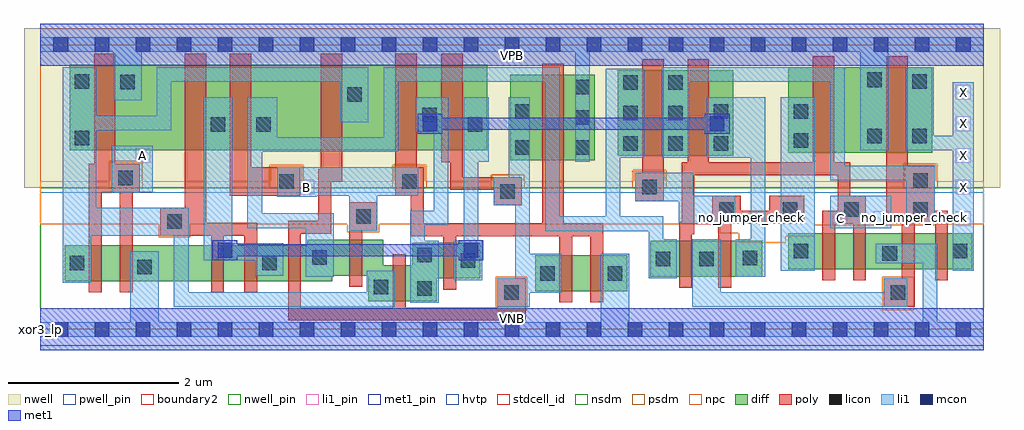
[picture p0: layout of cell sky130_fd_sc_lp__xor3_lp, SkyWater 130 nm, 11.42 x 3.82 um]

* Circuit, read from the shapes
.subckt sky130_fd_sc_lp__xor3_lp A B C VGND VNB VPB VPWR X
XM1 n1 A n2 VNB sky130_fd_pr__nfet_01v8 w=0.42 l=0.15
XM2 VGND A n1 VNB sky130_fd_pr__nfet_01v8 w=0.42 l=0.15
XM3 n3 n2 VGND VNB sky130_fd_pr__nfet_01v8 w=0.42 l=0.15
XM4 n4 n2 n3 VNB sky130_fd_pr__nfet_01v8 w=0.42 l=0.15
XM5 n5 n6 n4 VNB sky130_fd_pr__nfet_01v8 w=0.42 l=0.15
XM6 n2 B n5 VNB sky130_fd_pr__nfet_01v8 w=0.42 l=0.15
XM7 n7 n6 n2 VNB sky130_fd_pr__nfet_01v8 w=0.42 l=0.15
XM8 n4 B n7 VNB sky130_fd_pr__nfet_01v8 w=0.42 l=0.15
XM9 n8 B n6 VNB sky130_fd_pr__nfet_01v8 w=0.42 l=0.15
XM10 VGND B n8 VNB sky130_fd_pr__nfet_01v8 w=0.42 l=0.15
XM11 n9 C n5 VNB sky130_fd_pr__nfet_01v8 w=0.42 l=0.15
XM12 n7 n10 n9 VNB sky130_fd_pr__nfet_01v8 w=0.42 l=0.15
XM13 n11 C n10 VNB sky130_fd_pr__nfet_01v8 w=0.42 l=0.15
XM14 VGND C n11 VNB sky130_fd_pr__nfet_01v8 w=0.42 l=0.15
XM15 n12 n9 VGND VNB sky130_fd_pr__nfet_01v8 w=0.42 l=0.15
XM16 X n9 n12 VNB sky130_fd_pr__nfet_01v8 w=0.42 l=0.15
XM17 VPWR A n2 VPB sky130_fd_pr__pfet_01v8_hvt w=1 l=0.25
XM18 n4 n2 VPWR VPB sky130_fd_pr__pfet_01v8_hvt w=1 l=0.25
XM19 n5 B n4 VPB sky130_fd_pr__pfet_01v8_hvt w=1 l=0.25
XM20 n2 n6 n5 VPB sky130_fd_pr__pfet_01v8_hvt w=1 l=0.25
XM21 n7 B n2 VPB sky130_fd_pr__pfet_01v8_hvt w=1 l=0.25
XM22 n4 n6 n7 VPB sky130_fd_pr__pfet_01v8_hvt w=1 l=0.25
XM23 VPWR B n6 VPB sky130_fd_pr__pfet_01v8_hvt w=1 l=0.25
XM24 n9 n10 n5 VPB sky130_fd_pr__pfet_01v8_hvt w=1 l=0.25
XM25 n7 C n9 VPB sky130_fd_pr__pfet_01v8_hvt w=1 l=0.25
XM26 VPWR C n10 VPB sky130_fd_pr__pfet_01v8_hvt w=1 l=0.25
XM27 X n9 VPWR VPB sky130_fd_pr__pfet_01v8_hvt w=1 l=0.25
.ends

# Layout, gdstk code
import gdstk
lib = gdstk.Library(unit=1e-6, precision=1e-09)
def R(c, l, rs):  # rectangles x0, y0, x1, y1
    for r in rs: c.add(gdstk.rectangle(r[:2], r[2:], *l))
def A(c, l, x, y, w, h, nx, ny, dx, dy):  # array of equal rectangles
    R(c, l, [(x+i*dx, y+j*dy, x+i*dx+w, y+j*dy+h) for i in range(nx) for j in range(ny)])
def P(c, l, *ps):  # polygons
    for p in ps: c.add(gdstk.Polygon(p, *l))
nwell_pin = (64, 16)
nwell = (64, 20)
diff = (65, 20)
poly = (66, 20)
licon = (66, 44)
li1_pin = (67, 16)
li1 = (67, 20)
mcon = (67, 44)
met1_pin = (68, 16)
met1 = (68, 20)
hvtp = (78, 44)
stdcell_id = (81, 4)
nsdm = (93, 44)
psdm = (94, 20)
npc = (95, 20)
pwell_pin = (122, 16)
boundary2 = (236, 0)

sky130_fd_sc_lp__xor3_lp = lib.new_cell('sky130_fd_sc_lp__xor3_lp')
R(sky130_fd_sc_lp__xor3_lp, nwell_pin, [(0,3.085,11.04,3.33)])
R(sky130_fd_sc_lp__xor3_lp, nwell, [(-0.19,1.655,11.23,3.52)])
R(sky130_fd_sc_lp__xor3_lp, diff, [(5.79,0.445,6.87,0.865), (7.14,0.615,8.45,1.035), (8.755,0.705,10.905,1.125), (5.5,1.98,6.49,2.98), (6.76,2.03,8.11,3.03), (8.755,2.065,10.435,3.065), (0.345,2.095,5.23,3.095)])
P(sky130_fd_sc_lp__xor3_lp, diff, [(5.15,1.015),(4.35,1.015),(4.35,0.75),(4.015,0.75),(4.015,1.045),(3.125,1.045),(3.125,0.985),(0.285,0.985),(0.285,0.565),(3.415,0.565),(3.415,0.625),(3.84,0.625),(3.84,0.33),(4.64,0.33),(4.64,0.595),(5.15,0.595)])
P(sky130_fd_sc_lp__xor3_lp, poly, [(1.165,1.935),(0.88,1.935),(0.88,3.225),(0.63,3.225),(0.63,1.935),(0.57,1.935),(0.57,0.435),(0.72,0.435),(0.72,1.605),(0.93,1.605),(0.93,0.435),(1.08,0.435),(1.08,1.605),(1.165,1.605)],
  [(2.54,1.245),(1.94,1.245),(1.94,3.225),(1.69,3.225),(1.69,1.425),(1.405,1.425),(1.405,1.095),(2,1.095),(2,0.435),(2.15,0.435),(2.15,1.095),(2.39,1.095),(2.39,0.435),(2.54,0.435)],
  [(3.045,1.895),(2.47,1.895),(2.47,3.225),(2.22,3.225),(2.22,1.565),(3.045,1.565)],
  [(3.945,1.485),(3.615,1.485),(3.615,0.495),(3.765,0.495),(3.765,1.155),(3.945,1.155)],
  [(5.635,1.78),(4.945,1.78),(4.945,3.225),(4.695,3.225),(4.695,1.955),(4.795,1.955),(4.795,1.63),(5.305,1.63),(5.305,1.45),(5.635,1.45)],
  [(5.68,0.595),(5.35,0.595),(5.35,0.255),(4.275,0.255),(4.275,0.88),(4.125,0.88),(4.125,0.255),(3.05,0.255),(3.05,1.12),(3.405,1.12),(3.405,1.725),(3.535,1.725),(3.535,3.225),(3.285,3.225),(3.285,1.875),(3.255,1.875),(3.255,1.27),(2.9,1.27),(2.9,0.105),(5.68,0.105)],
  [(6.585,1.24),(6.125,1.24),(6.125,3.11),(5.875,3.11),(5.875,1.24),(4.485,1.24),(4.485,1.895),(4.405,1.895),(4.405,3.225),(4.155,3.225),(4.155,1.565),(4.335,1.565),(4.335,1.09),(4.715,1.09),(4.715,0.465),(4.865,0.465),(4.865,1.09),(6.075,1.09),(6.075,0.315),(6.225,0.315),(6.225,1.09),(6.435,1.09),(6.435,0.315),(6.585,0.315)],
  [(7.295,3.16),(7.045,3.16),(7.045,1.83),(6.965,1.83),(6.965,1.5),(7.295,1.5)],
  [(8.94,1.565),(8.53,1.565),(8.53,1.385),(8.195,1.385),(8.195,1.565),(7.865,1.565),(7.865,1.235),(7.935,1.235),(7.935,0.485),(8.085,0.485),(8.085,1.235),(8.94,1.235)],
  [(9.66,1.565),(9.48,1.565),(9.48,1.955),(9.29,1.955),(9.29,3.195),(9.04,3.195),(9.04,1.955),(7.825,1.955),(7.825,3.16),(7.575,3.16),(7.575,1.955),(7.505,1.955),(7.505,1.26),(7.475,1.26),(7.475,0.485),(7.625,0.485),(7.625,1.11),(7.655,1.11),(7.655,1.805),(9.33,1.805),(9.33,1.385),(9.15,1.385),(9.15,0.575),(9.3,0.575),(9.3,1.235),(9.51,1.235),(9.51,0.575),(9.66,0.575)],
  [(10.62,1.385),(10.465,1.385),(10.465,1.905),(10.15,1.905),(10.15,3.195),(9.9,3.195),(9.9,1.235),(10.08,1.235),(10.08,0.595),(9.87,0.595),(9.87,0.265),(10.23,0.265),(10.23,1.235),(10.47,1.235),(10.47,0.575),(10.62,0.575)])
A(sky130_fd_sc_lp__xor3_lp, licon, 6.26, 2.04, 0.17, 0.17, 1, 3, 0, 0.355)
A(sky130_fd_sc_lp__xor3_lp, licon, 6.82, 2.09, 0.17, 0.17, 3, 1, 0.53, 0)
R(sky130_fd_sc_lp__xor3_lp, licon, [(5.43,0.345,5.6,0.515), (9.95,0.345,10.12,0.515), (4.41,0.39,4.58,0.56), (3.9,0.41,4.07,0.58), (5.85,0.57,6.02,0.74), (6.64,0.57,6.81,0.74), (1.135,0.645,1.305,0.815), (0.345,0.69,0.515,0.86), (2.595,0.69,2.765,0.86), (4.92,0.72,5.09,0.89), (7.2,0.74,7.37,0.91), (7.71,0.74,7.88,0.91), (8.22,0.75,8.39,0.92), (3.185,0.755,3.355,0.925), (4.41,0.785,4.58,0.955), (9.855,0.8,10.025,0.97), (8.815,0.83,8.985,1), (10.675,0.83,10.845,1), (1.485,1.175,1.655,1.345), (3.695,1.235,3.865,1.405), (7.945,1.315,8.115,1.485), (8.69,1.315,8.86,1.485), (9.41,1.315,9.58,1.485), (10.215,1.315,10.385,1.485), (5.385,1.53,5.555,1.7), (7.045,1.58,7.215,1.75), (2.795,1.645,2.965,1.815), (4.235,1.645,4.405,1.815), (10.215,1.655,10.385,1.825), (0.915,1.685,1.085,1.855), (5.56,2.04,5.73,2.21), (8.815,2.125,8.985,2.295), (0.405,2.155,0.575,2.325), (9.675,2.175,9.845,2.345), (10.205,2.175,10.375,2.345), (1.995,2.31,2.165,2.48), (2.525,2.31,2.695,2.48), (5,2.31,5.17,2.48), (4.47,2.425,4.64,2.595), (6.82,2.445,6.99,2.615), (7.35,2.445,7.52,2.615), (5.56,2.465,5.73,2.635), (7.88,2.465,8.05,2.635), (8.815,2.465,8.985,2.635), (3.59,2.66,3.76,2.83), (6.82,2.8,6.99,2.97), (7.35,2.8,7.52,2.97), (0.935,2.81,1.105,2.98), (0.405,2.815,0.575,2.985), (10.205,2.815,10.375,2.985), (9.675,2.835,9.845,3.005)])
A(sky130_fd_sc_lp__xor3_lp, li1_pin, 10.715, 1.21, 0.17, 0.17, 1, 5, 0, 0.37)
R(sky130_fd_sc_lp__xor3_lp, li1_pin, [(9.275,1.21,9.445,1.38), (9.755,1.21,9.925,1.38), (3.035,1.58,3.205,1.75), (1.115,1.95,1.285,2.12)])
R(sky130_fd_sc_lp__xor3_lp, li1, [(8.665,0.685,9.065,2.715), (9.245,1.18,9.955,1.565), (0.835,1.605,1.315,2.15)])
P(sky130_fd_sc_lp__xor3_lp, li1, [(6.26,1.96),(6.26,3.245),(1.185,3.245),(1.185,2.68),(0.855,2.68),(0.855,3.245),(0,3.245),(0,3.415),(11.04,3.415),(11.04,3.245),(9.925,3.245),(9.925,2.095),(9.595,2.095),(9.595,3.245),(6.43,3.245),(6.43,1.96)],
  [(1.055,0.085),(1.055,0.915),(1.385,0.915),(1.385,0.085),(6.56,0.085),(6.56,0.885),(6.89,0.885),(6.89,0.085),(10.325,0.085),(10.325,0.775),(9.775,0.775),(9.775,1),(10.495,1),(10.495,0.085),(11.04,0.085),(11.04,-0.085),(0,-0.085),(0,0.085)],
  [(4.425,1.895),(4.425,1.565),(3.945,1.565),(3.945,1.155),(3.615,1.155),(3.615,1.565),(3.235,1.565),(3.235,1.55),(2.775,1.55),(2.775,1.895)],
  [(4.605,1.385),(4.605,2.31),(4.39,2.31),(4.39,2.715),(4.775,2.715),(4.775,1.215),(4.5,1.215),(4.5,1.035),(4.66,1.035),(4.66,0.31),(4.33,0.31),(4.33,1.385)],
  [(7.8,2.01),(7.8,2.715),(8.485,2.715),(8.485,0.615),(8.14,0.615),(8.14,1.055),(8.315,1.055),(8.315,2.01)],
  [(10.675,0.685),(10.675,2.095),(10.125,2.095),(10.125,3.065),(10.455,3.065),(10.455,2.265),(10.675,2.265),(10.675,2.89),(10.925,2.89),(10.925,0.685)],
  [(6.08,3.065),(6.08,1.32),(6.615,1.32),(6.615,3.05),(7.07,3.05),(7.07,2.01),(6.785,2.01),(6.785,1.32),(7.29,1.32),(7.29,1.055),(7.45,1.055),(7.45,0.595),(7.12,0.595),(7.12,1.15),(5.91,1.15),(5.91,2.895),(4.19,2.895),(4.19,2.075),(2.595,2.075),(2.595,1.355),(3.435,1.355),(3.435,0.615),(3.105,0.615),(3.105,1.185),(2.425,1.185),(2.425,2.715),(2.775,2.715),(2.775,2.245),(4.02,2.245),(4.02,3.065)],
  [(0.265,3.065),(0.655,3.065),(0.655,2.5),(1.365,2.5),(1.365,3.065),(3.84,3.065),(3.84,2.425),(3.51,2.425),(3.51,2.895),(1.535,2.895),(1.535,2.33),(0.655,2.33),(0.655,1.425),(1.735,1.425),(1.735,0.435),(3.82,0.435),(3.82,0.685),(4.15,0.685),(4.15,0.265),(1.565,0.265),(1.565,1.095),(0.595,1.095),(0.595,0.545),(0.265,0.545)],
  [(7.47,1.5),(6.965,1.5),(6.965,1.83),(7.64,1.83),(7.64,1.565),(8.135,1.565),(8.135,1.235),(7.47,1.235)],
  [(1.915,0.81),(1.915,2.715),(2.245,2.715),(2.245,1.005),(2.845,1.005),(2.845,0.625),(2.515,0.625),(2.515,0.81)],
  [(5.305,1.45),(5.305,1.78),(5.48,1.78),(5.48,2.715),(5.73,2.715),(5.73,0.885),(6.1,0.885),(6.1,0.425),(5.73,0.425),(5.73,0.265),(5.35,0.265),(5.35,0.595),(5.56,0.595),(5.56,1.45)],
  [(4.955,1.035),(4.955,2.715),(5.25,2.715),(5.25,1.96),(5.125,1.96),(5.125,1.04),(5.17,1.04),(5.17,0.575),(4.84,0.575),(4.84,1.035)],
  [(7.27,2.01),(7.27,3.065),(9.415,3.065),(9.415,1.915),(10.465,1.915),(10.465,1.235),(10.135,1.235),(10.135,1.745),(9.245,1.745),(9.245,2.895),(7.6,2.895),(7.6,2.01)],
  [(7.63,0.265),(7.63,1.055),(7.96,1.055),(7.96,0.435),(9.87,0.435),(9.87,0.595),(10.145,0.595),(10.145,0.265)])
A(sky130_fd_sc_lp__xor3_lp, mcon, 0.155, -0.085, 0.17, 0.17, 23, 2, 0.48, 3.33)
R(sky130_fd_sc_lp__xor3_lp, mcon, [(2.075,0.84,2.245,1.01), (4.955,0.84,5.125,1.01), (4.475,2.32,4.645,2.49), (7.835,2.32,8.005,2.49)])
R(sky130_fd_sc_lp__xor3_lp, met1_pin, [(0,0,11.04,0.245), (0,3.085,11.04,3.33)])
R(sky130_fd_sc_lp__xor3_lp, met1, [(0,-0.245,11.04,0.245), (0,3.085,11.04,3.575)])
P(sky130_fd_sc_lp__xor3_lp, met1, [(4.705,2.475),(7.775,2.475),(7.775,2.52),(8.065,2.52),(8.065,2.29),(7.775,2.29),(7.775,2.335),(4.705,2.335),(4.705,2.29),(4.415,2.29),(4.415,2.52),(4.705,2.52)],
  [(2.015,0.81),(2.015,1.04),(2.305,1.04),(2.305,0.995),(4.895,0.995),(4.895,1.04),(5.185,1.04),(5.185,0.81),(4.895,0.81),(4.895,0.855),(2.305,0.855),(2.305,0.81)])
R(sky130_fd_sc_lp__xor3_lp, hvtp, [(0,1.6,11.04,3.33)])
R(sky130_fd_sc_lp__xor3_lp, stdcell_id, [(0,0,11.04,3.33)])
R(sky130_fd_sc_lp__xor3_lp, nsdm, [(0,-0.19,11.04,1.655)])
P(sky130_fd_sc_lp__xor3_lp, psdm, [(11.04,3.52),(0,3.52),(0,1.655),(0.805,1.655),(0.805,1.965),(1.195,1.965),(1.195,1.655),(2.685,1.655),(2.685,1.925),(3.075,1.925),(3.075,1.655),(4.125,1.655),(4.125,1.925),(4.515,1.925),(4.515,1.655),(5.275,1.655),(5.275,1.81),(5.665,1.81),(5.665,1.655),(6.935,1.655),(6.935,1.86),(7.325,1.86),(7.325,1.655),(10.105,1.655),(10.105,1.935),(10.495,1.935),(10.495,1.655),(11.04,1.655)])
R(sky130_fd_sc_lp__xor3_lp, npc, [(5.33,0.225,5.7,0.615), (9.85,0.225,10.22,0.615)])
P(sky130_fd_sc_lp__xor3_lp, npc, [(11.04,1.73),(10.485,1.73),(10.485,1.925),(10.115,1.925),(10.115,1.73),(7.315,1.73),(7.315,1.85),(6.945,1.85),(6.945,1.73),(5.655,1.73),(5.655,1.8),(5.285,1.8),(5.285,1.73),(4.505,1.73),(4.505,1.915),(4.135,1.915),(4.135,1.73),(3.065,1.73),(3.065,1.915),(2.695,1.915),(2.695,1.73),(1.185,1.73),(1.185,1.955),(0.815,1.955),(0.815,1.73),(0,1.73),(0,1.23),(1.385,1.23),(1.385,1.075),(1.755,1.075),(1.755,1.23),(3.595,1.23),(3.595,1.135),(3.965,1.135),(3.965,1.23),(7.845,1.23),(7.845,1.215),(7.95,1.215),(7.95,1.125),(8.175,1.125),(8.175,1.01),(8.725,1.01),(8.725,1.09),(9.06,1.09),(9.06,1.215),(10.485,1.215),(10.485,1.23),(11.04,1.23)])
R(sky130_fd_sc_lp__xor3_lp, pwell_pin, [(0,0,11.04,0.245)])
R(sky130_fd_sc_lp__xor3_lp, boundary2, [(0,0,11.04,3.33)])
sky130_fd_sc_lp__xor3_lp.add(gdstk.Label('VNB', (5.52,0.123), layer=64, texttype=59))
sky130_fd_sc_lp__xor3_lp.add(gdstk.Label('VPB', (5.52,3.208), layer=64, texttype=5))
sky130_fd_sc_lp__xor3_lp.add(gdstk.Label('xor3_lp', (0,0), layer=83, texttype=44))
sky130_fd_sc_lp__xor3_lp.add(gdstk.Label('no_jumper_check', (10.23,1.305), layer=83, texttype=44))
sky130_fd_sc_lp__xor3_lp.add(gdstk.Label('no_jumper_check', (8.32,1.305), layer=83, texttype=44))
sky130_fd_sc_lp__xor3_lp.add(gdstk.Label('VPWR', (5.52,3.208), layer=68, texttype=5))
sky130_fd_sc_lp__xor3_lp.add(gdstk.Label('VGND', (5.52,0.123), layer=68, texttype=5))
sky130_fd_sc_lp__xor3_lp.add(gdstk.Label('B', (3.12,1.665), layer=67, texttype=5))
sky130_fd_sc_lp__xor3_lp.add(gdstk.Label('A', (1.2,2.035), layer=67, texttype=5))
sky130_fd_sc_lp__xor3_lp.add(gdstk.Label('C', (9.36,1.295), layer=67, texttype=5))
sky130_fd_sc_lp__xor3_lp.add(gdstk.Label('C', (9.84,1.295), layer=67, texttype=5))
sky130_fd_sc_lp__xor3_lp.add(gdstk.Label('X', (10.8,1.295), layer=67, texttype=5))
sky130_fd_sc_lp__xor3_lp.add(gdstk.Label('X', (10.8,1.665), layer=67, texttype=5))
sky130_fd_sc_lp__xor3_lp.add(gdstk.Label('X', (10.8,2.035), layer=67, texttype=5))
sky130_fd_sc_lp__xor3_lp.add(gdstk.Label('X', (10.8,2.405), layer=67, texttype=5))
sky130_fd_sc_lp__xor3_lp.add(gdstk.Label('X', (10.8,2.775), layer=67, texttype=5))

lib.write_gds('sky130_fd_sc_lp__xor3_lp.gds')
